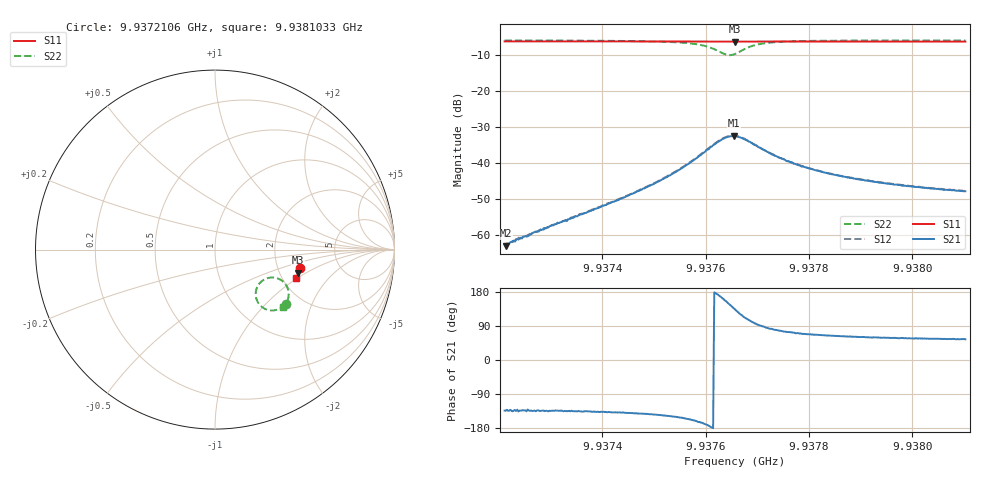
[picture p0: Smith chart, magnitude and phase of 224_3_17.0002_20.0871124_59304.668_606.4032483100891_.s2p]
#  HZ  S  RI  R  50.00
! Rohde & Schwarz Vector Network Analyzer
! Rohde-Schwarz,ZNB20-2Port,1311601062101988,3.16
! Created: UTC 3/20/2024, 11:02:06 PM
! freq[Hz]  re:S11  im:S11  re:S21  im:S21  re:S12  im:S12  re:S22  im:S22
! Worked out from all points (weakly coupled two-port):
!   401 points, 9.9372106 GHz to 9.9381033 GHz, reference 50 ohm
!   highest |S21| = -32.55 dB at 9.9376547 GHz (marker M1); lowest = -63.1 dB at 9.9372128 GHz (marker M2)
!   lowest |S11| = -6.4 dB at 9.9376569 GHz (marker M3), VSWR 2.84, Z = 126 - j42 ohm
!   |S11| at or under -10 dB: nowhere
!   |S22| runs from -10.1 to -6.1 dB; largest |S21 - S12| = 0.001
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9.93721057e9  0.4732 -0.1008  -0.000501 -0.000528  -0.000515 -0.000515  0.3939 -0.3047
9.9372128e9  0.473 -0.1011  -0.000487 -0.000507  -0.000486 -0.000492  0.3937 -0.3047
9.93725744e9  0.4724 -0.1041  -0.000662 -0.000706  -0.000708 -0.000712  0.39 -0.3084
9.93726636e9  0.472 -0.1048  -0.000745 -0.000768  -0.000758 -0.000765  0.3891 -0.3092
9.9373601e9  0.4703 -0.111  -0.00138 -0.00132  -0.00143 -0.00134  0.3789 -0.3177
9.93742705e9  0.4688 -0.1155  -0.00221 -0.00196  -0.00228 -0.00199  0.3681 -0.325
9.93750963e9  0.4668 -0.121  -0.00452 -0.00316  -0.00467 -0.00313  0.3443 -0.3355
9.93756319e9  0.4652 -0.1248  -0.00841 -0.00392  -0.00864 -0.00384  0.31 -0.3385
9.9375989e9  0.4637 -0.1272  -0.0139 -0.0027  -0.0143 -0.00247  0.2656 -0.3222
9.93761675e9  0.4628 -0.1281  -0.0178 0.000547  -0.0182 0.00092  0.2383 -0.2918
9.93763237e9  0.4622 -0.1284  -0.0203 0.00621  -0.0205 0.0068  0.2267 -0.2438
9.93764353e9  0.4618 -0.1286  -0.0199 0.0114  -0.0198 0.0122  0.2384 -0.2022
9.93765469e9  0.4617 -0.1287  -0.017 0.0164  -0.0165 0.017  0.2699 -0.1693
9.93765692e9  0.4617 -0.1287  -0.0159 0.0171  -0.0156 0.0178  0.2778 -0.1648
9.93766808e9  0.4622 -0.1291  -0.0111 0.0192  -0.0107 0.0198  0.3188 -0.1553
9.9376837e9  0.4625 -0.1299  -0.00524 0.0189  -0.00473 0.0192  0.3649 -0.1679
9.93770825e9  0.4627 -0.1319  1.9e-05 0.0157  0.000379 0.0157  0.3995 -0.2037
9.93774396e9  0.4622 -0.1346  0.00258 0.0113  0.00278 0.0113  0.4107 -0.2423
9.93780645e9  0.4608 -0.139  0.00315 0.00746  0.00332 0.00746  0.4062 -0.2766
9.93787563e9  0.4591 -0.1437  0.00294 0.00548  0.00305 0.00549  0.3986 -0.295
9.93795598e9  0.4572 -0.1491  0.00266 0.00432  0.00278 0.00435  0.3908 -0.3077
9.93810327e9  0.4533 -0.1586  0.00232 0.00327  0.00238 0.00328  0.3795 -0.3225
